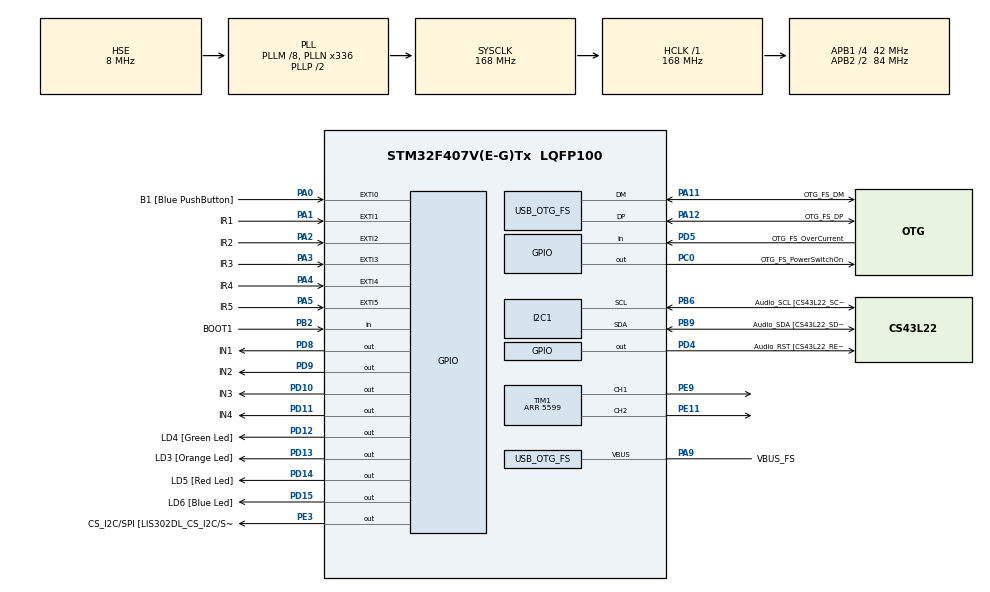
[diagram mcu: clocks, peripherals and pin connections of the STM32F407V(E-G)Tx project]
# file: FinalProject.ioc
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Mcu.Family=STM32F4
Mcu.Name=STM32F407V(E-G)Tx
Mcu.Package=LQFP100
NVIC.EXTI1_IRQn=true\:0\:0\:false\:false\:true\:true\:true\:true
NVIC.EXTI2_IRQn=true\:0\:0\:false\:false\:true\:true\:true\:true
NVIC.EXTI3_IRQn=true\:0\:0\:false\:false\:true\:true\:true\:true
NVIC.EXTI4_IRQn=true\:0\:0\:false\:false\:true\:true\:true\:true
NVIC.EXTI9_5_IRQn=true\:0\:0\:false\:false\:true\:true\:true\:true
NVIC.OTG_FS_IRQn=true\:0\:0\:false\:false\:true\:true\:true\:true
NVIC.PriorityGroup=NVIC_PRIORITYGROUP_0
PA0-WKUP.GPIO_Label=B1 [Blue PushButton]
PA0-WKUP.GPIO_ModeDefaultEXTI=GPIO_MODE_EVT_RISING
PA0-WKUP.GPIO_PuPd=GPIO_NOPULL
PA0-WKUP.Signal=GPXTI0
PA1.GPIO_Label=IR1
PA1.GPIO_ModeDefaultEXTI=GPIO_MODE_IT_RISING_FALLING
PA1.Signal=GPXTI1
PA10.GPIO_Label=OTG_FS_ID
PA10.GPIO_Mode=GPIO_MODE_AF_PP
PA10.GPIO_PuPd=GPIO_NOPULL
PA10.GPIO_Speed=GPIO_SPEED_FREQ_LOW
PA10.Signal=USB_OTG_FS_ID
PA11.GPIO_Label=OTG_FS_DM
PA11.GPIO_Mode=GPIO_MODE_AF_PP
PA11.GPIO_PuPd=GPIO_NOPULL
PA11.GPIO_Speed=GPIO_SPEED_FREQ_LOW
PA11.Mode=Host_Only
PA11.Signal=USB_OTG_FS_DM
PA12.GPIO_Label=OTG_FS_DP
PA12.GPIO_Mode=GPIO_MODE_AF_PP
PA12.GPIO_PuPd=GPIO_NOPULL
PA12.GPIO_Speed=GPIO_SPEED_FREQ_LOW
PA12.Mode=Host_Only
PA12.Signal=USB_OTG_FS_DP
PA13.GPIO_Label=SWDIO
PA13.Mode=Serial_Wire
PA13.Signal=SYS_JTMS-SWDIO
PA14.GPIO_Label=SWCLK
PA14.Mode=Serial_Wire
PA14.Signal=SYS_JTCK-SWCLK
PA2.GPIO_Label=IR2
PA2.GPIO_ModeDefaultEXTI=GPIO_MODE_IT_RISING_FALLING
PA2.Signal=GPXTI2
PA3.GPIO_Label=IR3
PA3.GPIO_ModeDefaultEXTI=GPIO_MODE_IT_RISING_FALLING
PA3.Signal=GPXTI3
PA4.GPIO_Label=IR4
PA4.GPIO_ModeDefaultEXTI=GPIO_MODE_IT_RISING_FALLING
PA4.Signal=GPXTI4
PA5.GPIO_Label=IR5
PA5.GPIO_ModeDefaultEXTI=GPIO_MODE_IT_RISING_FALLING
PA5.Signal=GPXTI5
PA9.GPIO_Label=VBUS_FS
PA9.GPIO_Mode=GPIO_MODE_INPUT
PA9.GPIO_PuPd=GPIO_NOPULL
PA9.Mode=Activate_VBUS
PA9.Signal=USB_OTG_FS_VBUS
PB10.GPIO_Label=CLK_IN [MP45DT02_CLK]
PB10.GPIO_Mode=GPIO_MODE_AF_PP
PB10.GPIO_PuPd=GPIO_NOPULL
PB10.GPIO_Speed=GPIO_SPEED_FREQ_LOW
PB10.Signal=I2S2_CK
PB2.GPIO_Label=BOOT1
PB2.GPIO_Mode=GPIO_MODE_INPUT
PB2.GPIO_PuPd=GPIO_NOPULL
PB2.Signal=GPIO_Input
PB3.GPIO_Label=SWO
PB3.Signal=SYS_JTDO-SWO
PB6.GPIO_Label=Audio_SCL [CS43L22_SCL]
PB6.GPIO_Mode=GPIO_MODE_AF_OD
PB6.GPIO_Pu=GPIO_PULLUP
PB6.GPIO_PuPd=GPIO_NOPULL
PB6.GPIO_Speed=GPIO_SPEED_FREQ_LOW
PB6.Mode=I2C
PB6.Signal=I2C1_SCL
PB9.GPIO_Label=Audio_SDA [CS43L22_SDA]
PB9.GPIO_Mode=GPIO_MODE_AF_OD
PB9.GPIO_Pu=GPIO_PULLUP
PB9.GPIO_PuPd=GPIO_NOPULL
PB9.GPIO_Speed=GPIO_SPEED_FREQ_LOW
PB9.Mode=I2C
PB9.Signal=I2C1_SDA
PC0.GPIO_Label=OTG_FS_PowerSwitchOn
PC0.GPIO_PuPd=GPIO_NOPULL
PC0.GPIO_Speed=GPIO_SPEED_FREQ_LOW
PC0.PinState=GPIO_PIN_SET
PC0.Signal=GPIO_Output
PC10.GPIO_Label=I2S3_SCK [CS43L22_SCLK]
PC10.GPIO_Mode=GPIO_MODE_AF_PP
PC10.GPIO_PuPd=GPIO_NOPULL
PC10.GPIO_Speed=GPIO_SPEED_FREQ_LOW
PC10.Signal=I2S3_CK
PC12.GPIO_Label=I2S3_SD [CS43L22_SDIN]
PC12.GPIO_Mode=GPIO_MODE_AF_PP
PC12.GPIO_PuPd=GPIO_NOPULL
PC12.GPIO_Speed=GPIO_SPEED_FREQ_LOW
PC12.Signal=I2S3_SD
PC14-OSC32_IN.GPIO_Label=PC14-OSC32_IN
PC14-OSC32_IN.Mode=LSE-External-Oscillator
PC14-OSC32_IN.Signal=RCC_OSC32_IN
PC15-OSC32_OUT.GPIO_Label=PC15-OSC32_OUT
PC15-OSC32_OUT.Mode=LSE-External-Oscillator
PC15-OSC32_OUT.Signal=RCC_OSC32_OUT
PC3.GPIO_Label=PDM_OUT [MP45DT02_DOUT]
PC3.GPIO_Mode=GPIO_MODE_AF_PP
PC3.GPIO_PuPd=GPIO_NOPULL
PC3.GPIO_Speed=GPIO_SPEED_FREQ_LOW
PC3.Signal=I2S2_SD
PC7.GPIO_Label=I2S3_MCK [CS43L22_MCLK]
PC7.GPIO_Mode=GPIO_MODE_AF_PP
PC7.GPIO_PuPd=GPIO_NOPULL
PC7.GPIO_Speed=GPIO_SPEED_FREQ_LOW
PC7.Signal=I2S3_MCK
PD10.GPIO_Label=IN3
PD10.Signal=GPIO_Output
PD11.GPIO_Label=IN4
PD11.Signal=GPIO_Output
PD12.GPIO_Label=LD4 [Green Led]
PD12.GPIO_PuPd=GPIO_NOPULL
PD12.GPIO_Speed=GPIO_SPEED_FREQ_LOW
PD12.Signal=GPIO_Output
PD13.GPIO_Label=LD3 [Orange Led]
PD13.GPIO_PuPd=GPIO_NOPULL
PD13.GPIO_Speed=GPIO_SPEED_FREQ_LOW
PD13.Signal=GPIO_Output
PD14.GPIO_Label=LD5 [Red Led]
PD14.GPIO_PuPd=GPIO_NOPULL
PD14.GPIO_Speed=GPIO_SPEED_FREQ_LOW
PD14.Signal=GPIO_Output
PD15.GPIO_Label=LD6 [Blue Led]
PD15.GPIO_PuPd=GPIO_NOPULL
PD15.GPIO_Speed=GPIO_SPEED_FREQ_LOW
PD15.Signal=GPIO_Output
PD4.GPIO_Label=Audio_RST [CS43L22_RESET]
PD4.GPIO_PuPd=GPIO_NOPULL
PD4.GPIO_Speed=GPIO_SPEED_FREQ_LOW
PD4.Signal=GPIO_Output
PD5.GPIO_Label=OTG_FS_OverCurrent
PD5.GPIO_Mode=GPIO_MODE_INPUT
PD5.GPIO_PuPd=GPIO_NOPULL
PD5.Signal=GPIO_Input
PD8.GPIO_Label=IN1
PD8.Signal=GPIO_Output
PD9.GPIO_Label=IN2
PD9.Signal=GPIO_Output
PE11.Signal=S_TIM1_CH2
PE3.GPIO_Label=CS_I2C/SPI [LIS302DL_CS_I2C/SPI]
PE3.GPIO_PuPd=GPIO_NOPULL
PE3.GPIO_Speed=GPIO_SPEED_FREQ_LOW
PE3.Signal=GPIO_Output
PE9.Signal=S_TIM1_CH1
PH0-OSC_IN.GPIO_Label=PH0-OSC_IN
PH0-OSC_IN.Mode=HSE-External-Oscillator
PH0-OSC_IN.Signal=RCC_OSC_IN
PH1-OSC_OUT.GPIO_Label=PH1-OSC_OUT
PH1-OSC_OUT.Mode=HSE-External-Oscillator
PH1-OSC_OUT.Signal=RCC_OSC_OUT
ProjectManager.HeapSize=0x200
ProjectManager.StackSize=0x400
ProjectManager.TargetToolchain=STM32CubeIDE
RCC.48MHZClocksFreq_Value=48000000
RCC.AHBFreq_Value=168000000
RCC.APB1CLKDivider=RCC_HCLK_DIV4
RCC.APB1Freq_Value=42000000
RCC.APB1TimFreq_Value=84000000
RCC.APB2CLKDivider=RCC_HCLK_DIV2
RCC.APB2Freq_Value=84000000
RCC.APB2TimFreq_Value=168000000
RCC.CortexFreq_Value=168000000
RCC.HCLKFreq_Value=168000000
RCC.HSE_VALUE=8000000
RCC.HSI_VALUE=16000000
RCC.PLLM=8
RCC.PLLN=336
RCC.PLLQ=7
RCC.SYSCLKFreq_VALUE=168000000
RCC.SYSCLKSource=RCC_SYSCLKSOURCE_PLLCLK
RCC.VCOOutputFreq_Value=336000000
SH.S_TIM1_CH1.0=TIM1_CH1,PWM Generation1 CH1
SH.S_TIM1_CH2.0=TIM1_CH2,PWM Generation2 CH2
TIM1.AutoReloadPreload=TIM_AUTORELOAD_PRELOAD_ENABLE
TIM1.Channel-PWM\ Generation1\ CH1=TIM_CHANNEL_1
TIM1.Channel-PWM\ Generation2\ CH2=TIM_CHANNEL_2
TIM1.Period=5599
USB_HOST.BSP.number=1
USB_HOST.USBH_HandleTypeDef-CDC_FS=hUsbHostFS
USB_HOST.VirtualModeFS=Cdc
USB_HOST0.BSP.STBoard=false
USB_HOST0.BSP.api=Unknown
USB_HOST0.BSP.instance=PC0
USB_HOST0.BSP.ip=GPIO
USB_HOST0.BSP.mode=Output
USB_HOST0.BSP.name=Drive_VBUS_FS
USB_HOST0.BSP.solution=PC0
USB_OTG_FS.VirtualMode=Host_Only
USB_OTG_FS.phy_itface=HCD_PHY_EMBEDDED
VP_USB_HOST_VS_USB_HOST_CDC_FS.Mode=CDC_FS
board=STM32F407G-DISC1

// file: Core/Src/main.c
/* USER CODE BEGIN Header */
/**
  ******************************************************************************
  * @file           : main.c
  * @brief          : Main program body
  ******************************************************************************
  * @attention
  *
  * Copyright (c) 2025 STMicroelectronics.
  * All rights reserved.
  *
  * This software is licensed under terms that can be found in the LICENSE file
  * in the root directory of this software component.
  * If no LICENSE file comes with this software, it is provided AS-IS.
  *
  ******************************************************************************
  */
/* USER CODE END Header */
#include "main.h"
#include "usb_host.h"

I2C_HandleTypeDef hi2c1;

TIM_HandleTypeDef htim1;

void SystemClock_Config(void);
static void MX_GPIO_Init(void);
static void MX_I2C1_Init(void);
static void MX_TIM1_Init(void);
void MX_USB_HOST_Process(void);

/* USER CODE BEGIN 0 */

uint8_t last_sensor_values[5] = {0};  // Store last valid sensor readings
//int8_t last_known_direction = 0;     // -1 for left, +1 for right

uint8_t sensor_values[5];

void HAL_GPIO_EXTI_Callback(uint16_t GPIO_Pin)
{
  if (GPIO_Pin == IR1_Pin)
    sensor_values[0] = HAL_GPIO_ReadPin(IR1_GPIO_Port, IR1_Pin);

  if (GPIO_Pin == IR2_Pin)
    sensor_values[1] = HAL_GPIO_ReadPin(IR2_GPIO_Port, IR2_Pin);

  if (GPIO_Pin == IR3_Pin)
    sensor_values[2] = HAL_GPIO_ReadPin(IR3_GPIO_Port, IR3_Pin);

  if (GPIO_Pin == IR4_Pin)
    sensor_values[3] = HAL_GPIO_ReadPin(IR4_GPIO_Port, IR4_Pin);

  if (GPIO_Pin == IR5_Pin)
    sensor_values[4] = HAL_GPIO_ReadPin(IR5_GPIO_Port, IR5_Pin);
/*
  uint8_t sum_left = sensor_values[0] + sensor_values[1];
  uint8_t sum_right = sensor_values[3] + sensor_values[4];

  if (sum_left > sum_right)
    last_known_direction = -1;
  else if (sum_right > sum_left)
    last_known_direction = 1;
  else
    last_known_direction = 0;
*/
  // Save sensor snapshot
  for (int i = 0; i < 5; i++)
    last_sensor_values[i] = sensor_values[i];
}

typedef enum {
  MOTOR_STOP = 0,
  MOTOR_FORWARD,
  MOTOR_REVERSE,
  MOTOR_BRAKE
} MotorDirection;

void motor_control(uint8_t motor, MotorDirection dir, uint8_t speed_percent)
{
  // Clamp speed to 0-100%
  if (speed_percent > 100) speed_percent = 100;

  // Map percent to PWM CCR value
  uint32_t pwm_value = (htim1.Init.Period * speed_percent) / 100;

  switch (motor)
  {
    case 1:
      // Motor 1 → IN1 (PD8), IN2 (PD9)
      switch (dir)
      {
        case MOTOR_FORWARD:
          HAL_GPIO_WritePin(GPIOD, GPIO_PIN_8, GPIO_PIN_SET);
          HAL_GPIO_WritePin(GPIOD, GPIO_PIN_9, GPIO_PIN_RESET);
          break;

        case MOTOR_REVERSE:
          HAL_GPIO_WritePin(GPIOD, GPIO_PIN_8, GPIO_PIN_RESET);
          HAL_GPIO_WritePin(GPIOD, GPIO_PIN_9, GPIO_PIN_SET);
          break;

        case MOTOR_BRAKE:
          HAL_GPIO_WritePin(GPIOD, GPIO_PIN_8, GPIO_PIN_SET);
          HAL_GPIO_WritePin(GPIOD, GPIO_PIN_9, GPIO_PIN_SET);
          break;

        case MOTOR_STOP:
        default:
          HAL_GPIO_WritePin(GPIOD, GPIO_PIN_8, GPIO_PIN_RESET);
          HAL_GPIO_WritePin(GPIOD, GPIO_PIN_9, GPIO_PIN_RESET);
          break;
      }

      __HAL_TIM_SET_COMPARE(&htim1, TIM_CHANNEL_1, pwm_value);
      break;

    case 2:
      // Motor 2 → IN3 (PD10), IN4 (PD11)
      switch (dir)
      {
        case MOTOR_FORWARD:
          HAL_GPIO_WritePin(GPIOD, GPIO_PIN_10, GPIO_PIN_SET);
          HAL_GPIO_WritePin(GPIOD, GPIO_PIN_11, GPIO_PIN_RESET);
          break;

        case MOTOR_REVERSE:
          HAL_GPIO_WritePin(GPIOD, GPIO_PIN_10, GPIO_PIN_RESET);
          HAL_GPIO_WritePin(GPIOD, GPIO_PIN_11, GPIO_PIN_SET);
          break;

        case MOTOR_BRAKE:
          HAL_GPIO_WritePin(GPIOD, GPIO_PIN_10, GPIO_PIN_SET);
          HAL_GPIO_WritePin(GPIOD, GPIO_PIN_11, GPIO_PIN_SET);
          break;

        case MOTOR_STOP:
        default:
          HAL_GPIO_WritePin(GPIOD, GPIO_PIN_10, GPIO_PIN_RESET);
          HAL_GPIO_WritePin(GPIOD, GPIO_PIN_11, GPIO_PIN_RESET);
          break;
      }

      __HAL_TIM_SET_COMPARE(&htim1, TIM_CHANNEL_2, pwm_value);
      break;

    default:
      // Do nothing if motor ID is invalid
      break;
  }
}

// Weights for each IR sensor
// This creates a scale so the error shows how far off-center the line is.
int8_t weights[5] = {-4, -2, 0, 2, 4};

// PID gains
float Kp = 10;   // Proportional gain: how strongly we react to the error
float Ki = 0.0;   // Integral gain: how strongly we correct accumulated error
float Kd = 5;   // Derivative gain: how strongly we damp sudden changes

// Variables that store the PID state each loop
float error = 0;        // Current position error
float prev_error = 0;   // Last loop's error, for derivative term
float integral = 0;     // Sum of errors over time
float derivative = 0;   // Rate of change of the error

float correction = 0;

void update_line_follower()
{
  uint8_t count = 0;   // Number of sensors that detect the line
  int8_t sum = 0;      // Weighted sum of active sensors
  //static int8_t last_known_direction = 0;

  // 1️ Compute the weighted position estimate:
  for (int i = 0; i < 5; i++)
  {
    if (sensor_values[i])   // If sensor i sees the line
    {
      sum += weights[i];    // Add its weight to the sum
      count++;              // Count active sensors
    }
  }
  /*
  if (sum < 0){
      	last_known_direction = 1;
      }
      if (sum > 0){
      	last_known_direction = -1;
      }

      if ((count == 1)&&(sum == 0)){
      	last_known_direction = 0;
      }
      */

  // 2️ Calculate the average position error
  if (count > 0){
	  HAL_GPIO_WritePin(GPIOD, GPIO_PIN_15, GPIO_PIN_SET);
	    // Normal PID operation
	    error = (float)sum / count;

	    if (fabs(error) < 0.01) {
	        // Centered, green LED on
	        HAL_GPIO_WritePin(GPIOD, GPIO_PIN_12, GPIO_PIN_SET);
	    } else {
	        HAL_GPIO_WritePin(GPIOD, GPIO_PIN_12, GPIO_PIN_RESET);
	    }
	    // 3️ Update integral & derivative terms for PID
	      integral += error;              // Accumulate error over time
	      derivative = error - prev_error; // How much error changed since last loop
	      prev_error = error;             // Store current error for next loop

	      // 4️ Compute the correction using the PID formula
	      correction = Kp * error + Ki * integral + Kd * derivative;

	      // 5️ Decide base speed for both motors
	      float base_speed = 60;   // % of full speed

	      // 6️ Adjust each motor’s speed using the correction
	      float left_speed = base_speed + correction;   // If correction > 0, steer left motor faster
	      float right_speed = base_speed - correction;  // And slow the right motor

	      // 7️ Determine directions
	      int left_direction = MOTOR_FORWARD;
	      int right_direction = MOTOR_FORWARD;

	      if (left_speed < 0)
	      {
	        left_direction = MOTOR_REVERSE;
	        left_speed = -left_speed;
	      }
	      if (right_speed < 0)
	      {
	        right_direction = MOTOR_REVERSE;
	        right_speed = -right_speed;
	      }

	      // 8️ Clamp to [0, 100]%
	      if (left_speed > 100) left_speed = 100;
	      if (right_speed > 100) right_speed = 100;

	      // 9️ Drive motors
	      motor_control(1, left_direction, (uint8_t)left_speed);
	      motor_control(2, right_direction, (uint8_t)right_speed);
  }
  else{

	  //fixed speed for spinning
	  const uint8_t recover_speed = 60;
	  // 🔁 Line lost — enter recovery mode
	      if (prev_error > 0)
	      {
	        // Turn left on the spot, red led
	    	  HAL_GPIO_WritePin(GPIOD, GPIO_PIN_14, GPIO_PIN_SET);
	        motor_control(2, MOTOR_REVERSE, recover_speed);
	        motor_control(1, MOTOR_FORWARD, recover_speed);
	      }
	      else if (prev_error < 0)
	      {
	        // Turn right on the spot, orange led
	    	  HAL_GPIO_WritePin(GPIOD, GPIO_PIN_13, GPIO_PIN_SET);
	        motor_control(2, MOTOR_FORWARD, recover_speed);
	        motor_control(1, MOTOR_REVERSE, recover_speed);
	      }
	      else
	      {
	        // Can't determine direction — stop or spin right by default
	        motor_control(2, MOTOR_FORWARD, 75);
	        motor_control(1, MOTOR_FORWARD, 75);
	      }
  }

}
/* USER CODE END 0 */

int main(void)
{

  /* MCU Configuration--------------------------------------------------------*/

  /* Reset of all peripherals, Initializes the Flash interface and the Systick. */
  HAL_Init();

  /* Configure the system clock */
  SystemClock_Config();

  /* Initialize all configured peripherals */
  MX_GPIO_Init();
  MX_I2C1_Init();
  MX_TIM1_Init();
  MX_USB_HOST_Init();
  /* USER CODE BEGIN 2 */
  HAL_TIM_PWM_Start(&htim1, TIM_CHANNEL_1);
  HAL_TIM_PWM_Start(&htim1, TIM_CHANNEL_2);

  motor_control(1, MOTOR_REVERSE, 50);
  motor_control(2, MOTOR_REVERSE, 50);
  /* USER CODE END 2 */

  /* Infinite loop */
  /* USER CODE BEGIN WHILE */
  while (1)
  {
/*
	for (int i = 100; i >= 50; i--){
		motor_control(1, MOTOR_REVERSE, i);
		motor_control(2, MOTOR_REVERSE, i);
		HAL_Delay(100);
	}
*/
	  update_line_follower();
	HAL_Delay(10);
	HAL_GPIO_WritePin(GPIOD, GPIO_PIN_13, GPIO_PIN_RESET);
	HAL_GPIO_WritePin(GPIOD, GPIO_PIN_14, GPIO_PIN_RESET);
	HAL_GPIO_WritePin(GPIOD, GPIO_PIN_15, GPIO_PIN_RESET);
    /* USER CODE END WHILE */
    MX_USB_HOST_Process();

  }
}

void SystemClock_Config(void)
{
  RCC_OscInitTypeDef RCC_OscInitStruct = {0};
  RCC_ClkInitTypeDef RCC_ClkInitStruct = {0};

  /** Configure the main internal regulator output voltage
  */
  __HAL_RCC_PWR_CLK_ENABLE();
  __HAL_PWR_VOLTAGESCALING_CONFIG(PWR_REGULATOR_VOLTAGE_SCALE1);

  /** Initializes the RCC Oscillators according to the specified parameters
  * in the RCC_OscInitTypeDef structure.
  */
  RCC_OscInitStruct.OscillatorType = RCC_OSCILLATORTYPE_HSE;
  RCC_OscInitStruct.HSEState = RCC_HSE_ON;
  RCC_OscInitStruct.PLL.PLLState = RCC_PLL_ON;
  RCC_OscInitStruct.PLL.PLLSource = RCC_PLLSOURCE_HSE;
  RCC_OscInitStruct.PLL.PLLM = 8;
  RCC_OscInitStruct.PLL.PLLN = 336;
  RCC_OscInitStruct.PLL.PLLP = RCC_PLLP_DIV2;
  RCC_OscInitStruct.PLL.PLLQ = 7;
  if (HAL_RCC_OscConfig(&RCC_OscInitStruct) != HAL_OK)
  {
    Error_Handler();
  }

  /** Initializes the CPU, AHB and APB buses clocks
  */
  RCC_ClkInitStruct.ClockType = RCC_CLOCKTYPE_HCLK|RCC_CLOCKTYPE_SYSCLK
                              |RCC_CLOCKTYPE_PCLK1|RCC_CLOCKTYPE_PCLK2;
  RCC_ClkInitStruct.SYSCLKSource = RCC_SYSCLKSOURCE_PLLCLK;
  RCC_ClkInitStruct.AHBCLKDivider = RCC_SYSCLK_DIV1;
  RCC_ClkInitStruct.APB1CLKDivider = RCC_HCLK_DIV4;
  RCC_ClkInitStruct.APB2CLKDivider = RCC_HCLK_DIV2;

  if (HAL_RCC_ClockConfig(&RCC_ClkInitStruct, FLASH_LATENCY_5) != HAL_OK)
  {
    Error_Handler();
  }
}

static void MX_I2C1_Init(void)
{

  hi2c1.Instance = I2C1;
  hi2c1.Init.ClockSpeed = 100000;
  hi2c1.Init.DutyCycle = I2C_DUTYCYCLE_2;
  hi2c1.Init.OwnAddress1 = 0;
  hi2c1.Init.AddressingMode = I2C_ADDRESSINGMODE_7BIT;
  hi2c1.Init.DualAddressMode = I2C_DUALADDRESS_DISABLE;
  hi2c1.Init.OwnAddress2 = 0;
  hi2c1.Init.GeneralCallMode = I2C_GENERALCALL_DISABLE;
  hi2c1.Init.NoStretchMode = I2C_NOSTRETCH_DISABLE;
  if (HAL_I2C_Init(&hi2c1) != HAL_OK)
  {
    Error_Handler();
  }

}

static void MX_TIM1_Init(void)
{

  TIM_MasterConfigTypeDef sMasterConfig = {0};
  TIM_OC_InitTypeDef sConfigOC = {0};
  TIM_BreakDeadTimeConfigTypeDef sBreakDeadTimeConfig = {0};

  htim1.Instance = TIM1;
  htim1.Init.Prescaler = 0;
  htim1.Init.CounterMode = TIM_COUNTERMODE_UP;
  htim1.Init.Period = 5599;
  htim1.Init.ClockDivision = TIM_CLOCKDIVISION_DIV1;
  htim1.Init.RepetitionCounter = 0;
  htim1.Init.AutoReloadPreload = TIM_AUTORELOAD_PRELOAD_ENABLE;
  if (HAL_TIM_PWM_Init(&htim1) != HAL_OK)
  {
    Error_Handler();
  }
  sMasterConfig.MasterOutputTrigger = TIM_TRGO_RESET;
  sMasterConfig.MasterSlaveMode = TIM_MASTERSLAVEMODE_DISABLE;
  if (HAL_TIMEx_MasterConfigSynchronization(&htim1, &sMasterConfig) != HAL_OK)
  {
    Error_Handler();
  }
  sConfigOC.OCMode = TIM_OCMODE_PWM1;
  sConfigOC.Pulse = 0;
  sConfigOC.OCPolarity = TIM_OCPOLARITY_HIGH;
  sConfigOC.OCNPolarity = TIM_OCNPOLARITY_HIGH;
  sConfigOC.OCFastMode = TIM_OCFAST_DISABLE;
  sConfigOC.OCIdleState = TIM_OCIDLESTATE_RESET;
  sConfigOC.OCNIdleState = TIM_OCNIDLESTATE_RESET;
  if (HAL_TIM_PWM_ConfigChannel(&htim1, &sConfigOC, TIM_CHANNEL_1) != HAL_OK)
  {
    Error_Handler();
  }
  if (HAL_TIM_PWM_ConfigChannel(&htim1, &sConfigOC, TIM_CHANNEL_2) != HAL_OK)
  {
    Error_Handler();
  }
  sBreakDeadTimeConfig.OffStateRunMode = TIM_OSSR_DISABLE;
  sBreakDeadTimeConfig.OffStateIDLEMode = TIM_OSSI_DISABLE;
  sBreakDeadTimeConfig.LockLevel = TIM_LOCKLEVEL_OFF;
  sBreakDeadTimeConfig.DeadTime = 0;
  sBreakDeadTimeConfig.BreakState = TIM_BREAK_DISABLE;
  sBreakDeadTimeConfig.BreakPolarity = TIM_BREAKPOLARITY_HIGH;
  sBreakDeadTimeConfig.AutomaticOutput = TIM_AUTOMATICOUTPUT_DISABLE;
  if (HAL_TIMEx_ConfigBreakDeadTime(&htim1, &sBreakDeadTimeConfig) != HAL_OK)
  {
    Error_Handler();
  }
  HAL_TIM_MspPostInit(&htim1);

}

static void MX_GPIO_Init(void)
{
  GPIO_InitTypeDef GPIO_InitStruct = {0};

  /* GPIO Ports Clock Enable */
  __HAL_RCC_GPIOE_CLK_ENABLE();
  __HAL_RCC_GPIOC_CLK_ENABLE();
  __HAL_RCC_GPIOH_CLK_ENABLE();
  __HAL_RCC_GPIOA_CLK_ENABLE();
  __HAL_RCC_GPIOB_CLK_ENABLE();
  __HAL_RCC_GPIOD_CLK_ENABLE();

  /*Configure GPIO pin Output Level */
  HAL_GPIO_WritePin(CS_I2C_SPI_GPIO_Port, CS_I2C_SPI_Pin, GPIO_PIN_RESET);

  /*Configure GPIO pin Output Level */
  HAL_GPIO_WritePin(OTG_FS_PowerSwitchOn_GPIO_Port, OTG_FS_PowerSwitchOn_Pin, GPIO_PIN_SET);

  /*Configure GPIO pin Output Level */
  HAL_GPIO_WritePin(GPIOD, IN1_Pin|IN2_Pin|IN3_Pin|IN4_Pin
                          |LD4_Pin|LD3_Pin|LD5_Pin|LD6_Pin
                          |Audio_RST_Pin, GPIO_PIN_RESET);

  /*Configure GPIO pin : CS_I2C_SPI_Pin */
  GPIO_InitStruct.Pin = CS_I2C_SPI_Pin;
  GPIO_InitStruct.Mode = GPIO_MODE_OUTPUT_PP;
  GPIO_InitStruct.Pull = GPIO_NOPULL;
  GPIO_InitStruct.Speed = GPIO_SPEED_FREQ_LOW;
  HAL_GPIO_Init(CS_I2C_SPI_GPIO_Port, &GPIO_InitStruct);

  /*Configure GPIO pin : OTG_FS_PowerSwitchOn_Pin */
  GPIO_InitStruct.Pin = OTG_FS_PowerSwitchOn_Pin;
  GPIO_InitStruct.Mode = GPIO_MODE_OUTPUT_PP;
  GPIO_InitStruct.Pull = GPIO_NOPULL;
  GPIO_InitStruct.Speed = GPIO_SPEED_FREQ_LOW;
  HAL_GPIO_Init(OTG_FS_PowerSwitchOn_GPIO_Port, &GPIO_InitStruct);

  /*Configure GPIO pin : PDM_OUT_Pin */
  GPIO_InitStruct.Pin = PDM_OUT_Pin;
  GPIO_InitStruct.Mode = GPIO_MODE_AF_PP;
  GPIO_InitStruct.Pull = GPIO_NOPULL;
  GPIO_InitStruct.Speed = GPIO_SPEED_FREQ_LOW;
  GPIO_InitStruct.Alternate = GPIO_AF5_SPI2;
  HAL_GPIO_Init(PDM_OUT_GPIO_Port, &GPIO_InitStruct);

  /*Configure GPIO pin : B1_Pin */
  GPIO_InitStruct.Pin = B1_Pin;
  GPIO_InitStruct.Mode = GPIO_MODE_EVT_RISING;
  GPIO_InitStruct.Pull = GPIO_NOPULL;
  HAL_GPIO_Init(B1_GPIO_Port, &GPIO_InitStruct);

  /*Configure GPIO pins : IR1_Pin IR2_Pin IR3_Pin IR4_Pin
                           IR5_Pin */
  GPIO_InitStruct.Pin = IR1_Pin|IR2_Pin|IR3_Pin|IR4_Pin
                          |IR5_Pin;
  GPIO_InitStruct.Mode = GPIO_MODE_IT_RISING_FALLING;
  GPIO_InitStruct.Pull = GPIO_NOPULL;
  HAL_GPIO_Init(GPIOA, &GPIO_InitStruct);

  /*Configure GPIO pin : BOOT1_Pin */
  GPIO_InitStruct.Pin = BOOT1_Pin;
  GPIO_InitStruct.Mode = GPIO_MODE_INPUT;
  GPIO_InitStruct.Pull = GPIO_NOPULL;
  HAL_GPIO_Init(BOOT1_GPIO_Port, &GPIO_InitStruct);

  /*Configure GPIO pin : CLK_IN_Pin */
  GPIO_InitStruct.Pin = CLK_IN_Pin;
  GPIO_InitStruct.Mode = GPIO_MODE_AF_PP;
  GPIO_InitStruct.Pull = GPIO_NOPULL;
  GPIO_InitStruct.Speed = GPIO_SPEED_FREQ_LOW;
  GPIO_InitStruct.Alternate = GPIO_AF5_SPI2;
  HAL_GPIO_Init(CLK_IN_GPIO_Port, &GPIO_InitStruct);

  /*Configure GPIO pins : IN1_Pin IN2_Pin IN3_Pin IN4_Pin
                           LD4_Pin LD3_Pin LD5_Pin LD6_Pin
                           Audio_RST_Pin */
  GPIO_InitStruct.Pin = IN1_Pin|IN2_Pin|IN3_Pin|IN4_Pin
                          |LD4_Pin|LD3_Pin|LD5_Pin|LD6_Pin
                          |Audio_RST_Pin;
  GPIO_InitStruct.Mode = GPIO_MODE_OUTPUT_PP;
  GPIO_InitStruct.Pull = GPIO_NOPULL;
  GPIO_InitStruct.Speed = GPIO_SPEED_FREQ_LOW;
  HAL_GPIO_Init(GPIOD, &GPIO_InitStruct);

  /*Configure GPIO pins : I2S3_MCK_Pin I2S3_SCK_Pin I2S3_SD_Pin */
  GPIO_InitStruct.Pin = I2S3_MCK_Pin|I2S3_SCK_Pin|I2S3_SD_Pin;
  GPIO_InitStruct.Mode = GPIO_MODE_AF_PP;
  GPIO_InitStruct.Pull = GPIO_NOPULL;
  GPIO_InitStruct.Speed = GPIO_SPEED_FREQ_LOW;
  GPIO_InitStruct.Alternate = GPIO_AF6_SPI3;
  HAL_GPIO_Init(GPIOC, &GPIO_InitStruct);

  /*Configure GPIO pin : OTG_FS_OverCurrent_Pin */
  GPIO_InitStruct.Pin = OTG_FS_OverCurrent_Pin;
  GPIO_InitStruct.Mode = GPIO_MODE_INPUT;
  GPIO_InitStruct.Pull = GPIO_NOPULL;
  HAL_GPIO_Init(OTG_FS_OverCurrent_GPIO_Port, &GPIO_InitStruct);

  /* EXTI interrupt init*/
  HAL_NVIC_SetPriority(EXTI1_IRQn, 0, 0);
  HAL_NVIC_EnableIRQ(EXTI1_IRQn);

  HAL_NVIC_SetPriority(EXTI2_IRQn, 0, 0);
  HAL_NVIC_EnableIRQ(EXTI2_IRQn);

  HAL_NVIC_SetPriority(EXTI3_IRQn, 0, 0);
  HAL_NVIC_EnableIRQ(EXTI3_IRQn);

  HAL_NVIC_SetPriority(EXTI4_IRQn, 0, 0);
  HAL_NVIC_EnableIRQ(EXTI4_IRQn);

  HAL_NVIC_SetPriority(EXTI9_5_IRQn, 0, 0);
  HAL_NVIC_EnableIRQ(EXTI9_5_IRQn);

}

void Error_Handler(void)
{
  __disable_irq();
  while (1)
  {
  }
}
